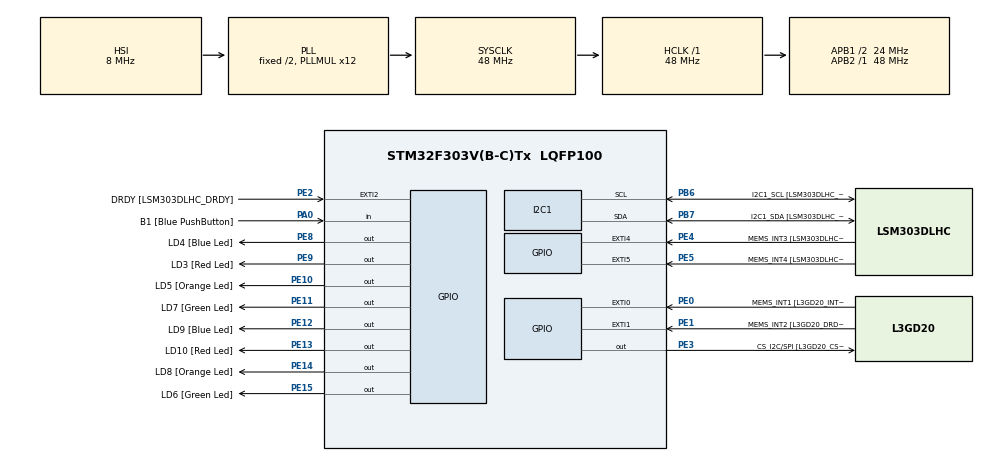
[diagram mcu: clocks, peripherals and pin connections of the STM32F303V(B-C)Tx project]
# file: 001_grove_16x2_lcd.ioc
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I2C1.Timing=0x00201D2B
Mcu.Family=STM32F3
Mcu.Name=STM32F303V(B-C)Tx
Mcu.Package=LQFP100
NVIC.PriorityGroup=NVIC_PRIORITYGROUP_0
PA0.GPIO_Label=B1 [Blue PushButton]
PA0.GPIO_Mode=GPIO_MODE_INPUT
PA0.GPIO_PuPd=GPIO_NOPULL
PA0.Signal=GPIO_Input
PA11.GPIO_Label=DM
PA11.Signal=USB_DM
PA12.GPIO_Label=DP
PA12.Signal=USB_DP
PA13.GPIO_Label=SWDIO
PA13.Signal=SYS_JTMS-SWDIO
PA14.GPIO_Label=SWCLK
PA14.Signal=SYS_JTCK-SWCLK
PA5.GPIO_Label=SPI1_SCK [L3GD20_SCL/SPC]
PA5.GPIO_Mode=GPIO_MODE_AF_PP
PA5.GPIO_PuPd=GPIO_NOPULL
PA5.GPIO_Speed=GPIO_SPEED_FREQ_LOW
PA5.Signal=SPI1_SCK
PA6.GPIO_Label=SPI1_MISO [L3GD20_SA0/SDO]
PA6.GPIO_Mode=GPIO_MODE_AF_PP
PA6.GPIO_PuPd=GPIO_NOPULL
PA6.GPIO_Speed=GPIO_SPEED_FREQ_LOW
PA6.Signal=SPI1_MISO
PA7.GPIO_Label=SPI1_MISO [L3GD20_SDA/SDI/SDO]
PA7.GPIO_Mode=GPIO_MODE_AF_PP
PA7.GPIO_PuPd=GPIO_NOPULL
PA7.GPIO_Speed=GPIO_SPEED_FREQ_LOW
PA7.Signal=SPI1_MOSI
PB3.GPIO_Label=SWO
PB3.Signal=SYS_JTDO-TRACESWO
PB6.GPIO_FM6=__NULL
PB6.GPIO_Label=I2C1_SCL [LSM303DLHC_SCL]
PB6.GPIO_Mode=GPIO_MODE_AF_OD
PB6.GPIO_PuPd=GPIO_NOPULL
PB6.GPIO_Speed=GPIO_SPEED_FREQ_LOW
PB6.Mode=I2C
PB6.Signal=I2C1_SCL
PB7.GPIO_FM7=__NULL
PB7.GPIO_Label=I2C1_SDA [LSM303DLHC_SDA]
PB7.GPIO_Mode=GPIO_MODE_AF_OD
PB7.GPIO_PuPd=GPIO_NOPULL
PB7.GPIO_Speed=GPIO_SPEED_FREQ_LOW
PB7.Mode=I2C
PB7.Signal=I2C1_SDA
PC14-OSC32_IN.GPIO_Label=OSC32_IN
PC14-OSC32_IN.Signal=RCC_OSC32_IN
PC15-OSC32_OUT.GPIO_Label=OSC32_OUT
PC15-OSC32_OUT.Signal=RCC_OSC32_OUT
PE0.GPIO_Label=MEMS_INT1 [L3GD20_INT1]
PE0.GPIO_ModeDefaultEXTI=GPIO_MODE_EVT_RISING
PE0.GPIO_PuPd=GPIO_NOPULL
PE0.Signal=GPXTI0
PE1.GPIO_Label=MEMS_INT2 [L3GD20_DRDY/INT2]
PE1.GPIO_ModeDefaultEXTI=GPIO_MODE_EVT_RISING
PE1.GPIO_PuPd=GPIO_NOPULL
PE1.Signal=GPXTI1
PE10.GPIO_Label=LD5 [Orange Led]
PE10.GPIO_ModeDefaultOutputPP=GPIO_MODE_OUTPUT_PP
PE10.GPIO_PuPd=GPIO_NOPULL
PE10.GPIO_Speed=GPIO_SPEED_FREQ_LOW
PE10.Signal=GPIO_Output
PE11.GPIO_Label=LD7 [Green Led]
PE11.GPIO_ModeDefaultOutputPP=GPIO_MODE_OUTPUT_PP
PE11.GPIO_PuPd=GPIO_NOPULL
PE11.GPIO_Speed=GPIO_SPEED_FREQ_LOW
PE11.Signal=GPIO_Output
PE12.GPIO_Label=LD9 [Blue Led]
PE12.GPIO_ModeDefaultOutputPP=GPIO_MODE_OUTPUT_PP
PE12.GPIO_PuPd=GPIO_NOPULL
PE12.GPIO_Speed=GPIO_SPEED_FREQ_LOW
PE12.Signal=GPIO_Output
PE13.GPIO_Label=LD10 [Red Led]
PE13.GPIO_ModeDefaultOutputPP=GPIO_MODE_OUTPUT_PP
PE13.GPIO_PuPd=GPIO_NOPULL
PE13.GPIO_Speed=GPIO_SPEED_FREQ_LOW
PE13.Signal=GPIO_Output
PE14.GPIO_Label=LD8 [Orange Led]
PE14.GPIO_ModeDefaultOutputPP=GPIO_MODE_OUTPUT_PP
PE14.GPIO_PuPd=GPIO_NOPULL
PE14.GPIO_Speed=GPIO_SPEED_FREQ_LOW
PE14.Signal=GPIO_Output
PE15.GPIO_Label=LD6 [Green Led]
PE15.GPIO_ModeDefaultOutputPP=GPIO_MODE_OUTPUT_PP
PE15.GPIO_PuPd=GPIO_NOPULL
PE15.GPIO_Speed=GPIO_SPEED_FREQ_LOW
PE15.Signal=GPIO_Output
PE2.GPIO_Label=DRDY [LSM303DLHC_DRDY]
PE2.GPIO_ModeDefaultEXTI=GPIO_MODE_EVT_RISING
PE2.GPIO_PuPd=GPIO_NOPULL
PE2.Signal=GPXTI2
PE3.GPIO_Label=CS_I2C/SPI [L3GD20_CS_I2C/SPI]
PE3.GPIO_ModeDefaultOutputPP=GPIO_MODE_OUTPUT_PP
PE3.GPIO_PuPd=GPIO_NOPULL
PE3.GPIO_Speed=GPIO_SPEED_FREQ_LOW
PE3.Signal=GPIO_Output
PE4.GPIO_Label=MEMS_INT3 [LSM303DLHC_INT1]
PE4.GPIO_ModeDefaultEXTI=GPIO_MODE_EVT_RISING
PE4.GPIO_PuPd=GPIO_NOPULL
PE4.Signal=GPXTI4
PE5.GPIO_Label=MEMS_INT4 [LSM303DLHC_INT2]
PE5.GPIO_ModeDefaultEXTI=GPIO_MODE_EVT_RISING
PE5.GPIO_PuPd=GPIO_NOPULL
PE5.Signal=GPXTI5
PE8.GPIO_Label=LD4 [Blue Led]
PE8.GPIO_ModeDefaultOutputPP=GPIO_MODE_OUTPUT_PP
PE8.GPIO_PuPd=GPIO_NOPULL
PE8.GPIO_Speed=GPIO_SPEED_FREQ_LOW
PE8.Signal=GPIO_Output
PE9.GPIO_Label=LD3 [Red Led]
PE9.GPIO_ModeDefaultOutputPP=GPIO_MODE_OUTPUT_PP
PE9.GPIO_PuPd=GPIO_NOPULL
PE9.GPIO_Speed=GPIO_SPEED_FREQ_LOW
PE9.Signal=GPIO_Output
PF0-OSC_IN.GPIO_Label=OSC_IN
PF0-OSC_IN.Mode=HSE-External-Oscillator
PF0-OSC_IN.Signal=RCC_OSC_IN
PF1-OSC_OUT.GPIO_Label=OSC_OUT
PF1-OSC_OUT.Mode=HSE-External-Oscillator
PF1-OSC_OUT.Signal=RCC_OSC_OUT
ProjectManager.HeapSize=0x200
ProjectManager.StackSize=0x400
ProjectManager.TargetToolchain=STM32CubeIDE
RCC.AHBFreq_Value=48000000
RCC.APB1CLKDivider=RCC_HCLK_DIV2
RCC.APB1Freq_Value=24000000
RCC.APB1TimFreq_Value=48000000
RCC.APB2Freq_Value=48000000
RCC.APB2TimFreq_Value=48000000
RCC.CortexFreq_Value=48000000
RCC.HCLKFreq_Value=48000000
RCC.HSE_VALUE=8000000
RCC.HSI_VALUE=8000000
RCC.LSE_VALUE=32768
RCC.PLLMUL=RCC_PLL_MUL12
RCC.SYSCLKFreq_VALUE=48000000
RCC.SYSCLKSourceVirtual=RCC_SYSCLKSOURCE_PLLCLK
RCC.USBFreq_Value=48000000
board=STM32F3DISCOVERY

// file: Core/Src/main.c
/* USER CODE BEGIN Header */
/**
  ******************************************************************************
  * @file           : main.c
  * @brief          : Main program body
  ******************************************************************************
  * @attention
  *
  * Copyright (c) 2025 STMicroelectronics.
  * All rights reserved.
  *
  * This software is licensed under terms that can be found in the LICENSE file
  * in the root directory of this software component.
  * If no LICENSE file comes with this software, it is provided AS-IS.
  *
  ******************************************************************************
  */
/* USER CODE END Header */
#include "main.h"

/* USER CODE BEGIN Includes */
#include <stdio.h>
#include <stdlib.h>
#include <string.h>
#include "rgb_lcd.h"
/* USER CODE END Includes */

I2C_HandleTypeDef hi2c1;

/* USER CODE BEGIN PV */
LCD_HandleTypeDef hlcd;
HAL_StatusTypeDef status;

/* USER CODE END PV */

void SystemClock_Config(void);
static void MX_GPIO_Init(void);
static void MX_I2C1_Init(void);
/* USER CODE BEGIN PFP */
HAL_StatusTypeDef write_to_24lcxx(I2C_HandleTypeDef *hi2c, uint16_t devAddress, uint16_t memAddress, uint8_t *pData, uint16_t len);
HAL_StatusTypeDef read_from_24lcxx(I2C_HandleTypeDef *hi2c, uint16_t devAddress, uint16_t memAddress, uint8_t *pData, uint16_t len);
/* USER CODE END PFP */

int main(void)
{

  /* USER CODE BEGIN 1 */
	const char wmsg[] = "We love STM32!";
	char rmsg[20];
  /* USER CODE END 1 */

  /* MCU Configuration--------------------------------------------------------*/

  /* Reset of all peripherals, Initializes the Flash interface and the Systick. */
  HAL_Init();

  /* USER CODE BEGIN Init */
printf("check\n");
  /* USER CODE END Init */

  /* Configure the system clock */
  SystemClock_Config();

  /* Initialize all configured peripherals */
  MX_GPIO_Init();
  MX_I2C1_Init();
  /* USER CODE BEGIN 2 */

  status = LCD_Init(&hlcd, &hi2c1);
  if(status != HAL_OK) {
      Error_Handler();
  }
  HAL_Delay(100);

  LCD_SetRGB(&hlcd, 255, 0, 0);

  // Clear the display
  status = LCD_Clear(&hlcd);
  if(status != HAL_OK) {
      Error_Handler();
  }
  HAL_Delay(10);

  status = LCD_SetCursor(&hlcd, 0, 0);
  if(status != HAL_OK) {
      Error_Handler();
  }
  HAL_Delay(10);

  // Print some text
  status = LCD_Print(&hlcd, "Hello World!");
  if(status != HAL_OK) {
      Error_Handler();
  }
  HAL_Delay(10);

  // Set cursor to second line
  status = LCD_SetCursor(&hlcd, 0, 1);
  if(status != HAL_OK) {
      Error_Handler();
  }
  HAL_Delay(10);

  status = LCD_Print(&hlcd, "STM32 LCD Test");
  if(status != HAL_OK) {
      Error_Handler();
  }
  HAL_Delay(10);

  // eeprom
  write_to_24lcxx(&hi2c1, 0xa0, 0x1aaa, (uint8_t*)wmsg, strlen(wmsg)+1);
  read_from_24lcxx(&hi2c1, 0xa0, 0x1aaa, (uint8_t*)rmsg, strlen(wmsg)+1);

  // Set cursor to second line
  status = LCD_SetCursor(&hlcd, 0, 1);
  if(status != HAL_OK) {
      Error_Handler();
  }
  HAL_Delay(10);

  status = LCD_Print(&hlcd, rmsg);
  if(status != HAL_OK) {
      Error_Handler();
  }
  HAL_Delay(10);

  /* USER CODE END 2 */

  /* Infinite loop */
  /* USER CODE BEGIN WHILE */
  while (1)
  {
	  HAL_GPIO_TogglePin(LD5_GPIO_Port, LD5_Pin);
	  HAL_Delay(200);
    /* USER CODE END WHILE */

    /* USER CODE BEGIN 3 */
	  printf("check\n");
  }
  /* USER CODE END 3 */
}

void SystemClock_Config(void)
{
  RCC_OscInitTypeDef RCC_OscInitStruct = {0};
  RCC_ClkInitTypeDef RCC_ClkInitStruct = {0};
  RCC_PeriphCLKInitTypeDef PeriphClkInit = {0};

  /** Initializes the RCC Oscillators according to the specified parameters
  * in the RCC_OscInitTypeDef structure.
  */
  RCC_OscInitStruct.OscillatorType = RCC_OSCILLATORTYPE_HSI;
  RCC_OscInitStruct.HSIState = RCC_HSI_ON;
  RCC_OscInitStruct.HSICalibrationValue = RCC_HSICALIBRATION_DEFAULT;
  RCC_OscInitStruct.PLL.PLLState = RCC_PLL_ON;
  RCC_OscInitStruct.PLL.PLLSource = RCC_PLLSOURCE_HSI;
  RCC_OscInitStruct.PLL.PLLMUL = RCC_PLL_MUL12;
  if (HAL_RCC_OscConfig(&RCC_OscInitStruct) != HAL_OK)
  {
    Error_Handler();
  }

  /** Initializes the CPU, AHB and APB buses clocks
  */
  RCC_ClkInitStruct.ClockType = RCC_CLOCKTYPE_HCLK|RCC_CLOCKTYPE_SYSCLK
                              |RCC_CLOCKTYPE_PCLK1|RCC_CLOCKTYPE_PCLK2;
  RCC_ClkInitStruct.SYSCLKSource = RCC_SYSCLKSOURCE_PLLCLK;
  RCC_ClkInitStruct.AHBCLKDivider = RCC_SYSCLK_DIV1;
  RCC_ClkInitStruct.APB1CLKDivider = RCC_HCLK_DIV2;
  RCC_ClkInitStruct.APB2CLKDivider = RCC_HCLK_DIV1;

  if (HAL_RCC_ClockConfig(&RCC_ClkInitStruct, FLASH_LATENCY_1) != HAL_OK)
  {
    Error_Handler();
  }
  PeriphClkInit.PeriphClockSelection = RCC_PERIPHCLK_I2C1;
  PeriphClkInit.I2c1ClockSelection = RCC_I2C1CLKSOURCE_HSI;
  if (HAL_RCCEx_PeriphCLKConfig(&PeriphClkInit) != HAL_OK)
  {
    Error_Handler();
  }
}

static void MX_I2C1_Init(void)
{

  hi2c1.Instance = I2C1;
  hi2c1.Init.Timing = 0x00201D2B;
  hi2c1.Init.OwnAddress1 = 0;
  hi2c1.Init.AddressingMode = I2C_ADDRESSINGMODE_7BIT;
  hi2c1.Init.DualAddressMode = I2C_DUALADDRESS_DISABLE;
  hi2c1.Init.OwnAddress2 = 0;
  hi2c1.Init.OwnAddress2Masks = I2C_OA2_NOMASK;
  hi2c1.Init.GeneralCallMode = I2C_GENERALCALL_DISABLE;
  hi2c1.Init.NoStretchMode = I2C_NOSTRETCH_DISABLE;
  if (HAL_I2C_Init(&hi2c1) != HAL_OK)
  {
    Error_Handler();
  }

  /** Configure Analogue filter
  */
  if (HAL_I2CEx_ConfigAnalogFilter(&hi2c1, I2C_ANALOGFILTER_ENABLE) != HAL_OK)
  {
    Error_Handler();
  }

  /** Configure Digital filter
  */
  if (HAL_I2CEx_ConfigDigitalFilter(&hi2c1, 0) != HAL_OK)
  {
    Error_Handler();
  }

}

static void MX_GPIO_Init(void)
{
  GPIO_InitTypeDef GPIO_InitStruct = {0};

  /* GPIO Ports Clock Enable */
  __HAL_RCC_GPIOE_CLK_ENABLE();
  __HAL_RCC_GPIOC_CLK_ENABLE();
  __HAL_RCC_GPIOF_CLK_ENABLE();
  __HAL_RCC_GPIOA_CLK_ENABLE();
  __HAL_RCC_GPIOB_CLK_ENABLE();

  /*Configure GPIO pin Output Level */
  HAL_GPIO_WritePin(GPIOE, CS_I2C_SPI_Pin|LD4_Pin|LD3_Pin|LD5_Pin
                          |LD7_Pin|LD9_Pin|LD10_Pin|LD8_Pin
                          |LD6_Pin, GPIO_PIN_RESET);

  /*Configure GPIO pins : DRDY_Pin MEMS_INT3_Pin MEMS_INT4_Pin MEMS_INT1_Pin
                           MEMS_INT2_Pin */
  GPIO_InitStruct.Pin = DRDY_Pin|MEMS_INT3_Pin|MEMS_INT4_Pin|MEMS_INT1_Pin
                          |MEMS_INT2_Pin;
  GPIO_InitStruct.Mode = GPIO_MODE_EVT_RISING;
  GPIO_InitStruct.Pull = GPIO_NOPULL;
  HAL_GPIO_Init(GPIOE, &GPIO_InitStruct);

  /*Configure GPIO pins : CS_I2C_SPI_Pin LD4_Pin LD3_Pin LD5_Pin
                           LD7_Pin LD9_Pin LD10_Pin LD8_Pin
                           LD6_Pin */
  GPIO_InitStruct.Pin = CS_I2C_SPI_Pin|LD4_Pin|LD3_Pin|LD5_Pin
                          |LD7_Pin|LD9_Pin|LD10_Pin|LD8_Pin
                          |LD6_Pin;
  GPIO_InitStruct.Mode = GPIO_MODE_OUTPUT_PP;
  GPIO_InitStruct.Pull = GPIO_NOPULL;
  GPIO_InitStruct.Speed = GPIO_SPEED_FREQ_LOW;
  HAL_GPIO_Init(GPIOE, &GPIO_InitStruct);

  /*Configure GPIO pin : B1_Pin */
  GPIO_InitStruct.Pin = B1_Pin;
  GPIO_InitStruct.Mode = GPIO_MODE_INPUT;
  GPIO_InitStruct.Pull = GPIO_NOPULL;
  HAL_GPIO_Init(B1_GPIO_Port, &GPIO_InitStruct);

  /*Configure GPIO pins : SPI1_SCK_Pin SPI1_MISO_Pin SPI1_MISOA7_Pin */
  GPIO_InitStruct.Pin = SPI1_SCK_Pin|SPI1_MISO_Pin|SPI1_MISOA7_Pin;
  GPIO_InitStruct.Mode = GPIO_MODE_AF_PP;
  GPIO_InitStruct.Pull = GPIO_NOPULL;
  GPIO_InitStruct.Speed = GPIO_SPEED_FREQ_LOW;
  GPIO_InitStruct.Alternate = GPIO_AF5_SPI1;
  HAL_GPIO_Init(GPIOA, &GPIO_InitStruct);

  /*Configure GPIO pins : DM_Pin DP_Pin */
  GPIO_InitStruct.Pin = DM_Pin|DP_Pin;
  GPIO_InitStruct.Mode = GPIO_MODE_AF_PP;
  GPIO_InitStruct.Pull = GPIO_NOPULL;
  GPIO_InitStruct.Speed = GPIO_SPEED_FREQ_HIGH;
  GPIO_InitStruct.Alternate = GPIO_AF14_USB;
  HAL_GPIO_Init(GPIOA, &GPIO_InitStruct);

}

/* USER CODE BEGIN 4 */
HAL_StatusTypeDef write_to_24lcxx(I2C_HandleTypeDef *hi2c, uint16_t devAddress, uint16_t memAddress, uint8_t *pData, uint16_t len)
{
	HAL_StatusTypeDef returnValue;
	uint8_t *data;

	/* First we allocate a temporary buffer to store the destination memory
	   * address and the data to store */
	data = (uint8_t*) malloc(sizeof(uint8_t)*(len+2));

	/* We compute the MSB and LSB parts of the memory address */
	data[0] = (uint8_t)((memAddress & 0xff00) >> 8);
	data[1] = (uint8_t)(memAddress & 0xff);

	/* And copy the content of the pData array in the temporary buffer */
	memcpy(data + 2, pData, len);

	/* We are now ready to transfer the buffer over the I2C bus */
	returnValue = HAL_I2C_Master_Transmit(hi2c, devAddress, data, len + 2, HAL_MAX_DELAY);
	if (returnValue != HAL_OK)
	{
		return returnValue;
	}

	free(data);

	/* We wait until the EEPROM effectively stores data in memory */
	while(HAL_I2C_Master_Transmit(hi2c, devAddress, 0, 0, HAL_MAX_DELAY) != HAL_OK);

	return HAL_OK;
}

HAL_StatusTypeDef read_from_24lcxx(I2C_HandleTypeDef *hi2c, uint16_t devAddress, uint16_t memAddress, uint8_t *pData, uint16_t len)
{
	HAL_StatusTypeDef returnValue;
	uint8_t addr[2];

	/* We compute the MSB and LSB parts of the memory address */
	addr[0] = (uint8_t) ((memAddress & 0xff00) >> 8);
	addr[1] = (uint8_t) (memAddress & 0xff);

	/* First we send the memory location address where start reading data */
	returnValue = HAL_I2C_Master_Transmit(hi2c, devAddress, addr, 2, HAL_MAX_DELAY);
	if (returnValue != HAL_OK)
	{
		return returnValue;
	}

	/* Next we can retrieve the data from EEPROM */
	returnValue = HAL_I2C_Master_Receive(hi2c, devAddress, pData, len, HAL_MAX_DELAY);

	return returnValue;
}
/* USER CODE END 4 */

void Error_Handler(void)
{
  /* USER CODE BEGIN Error_Handler_Debug */
  /* User can add his own implementation to report the HAL error return state */
  __disable_irq();
  while (1)
  {
	  HAL_GPIO_TogglePin(LD3_GPIO_Port, LD3_Pin); // Toggle red LED to indicate error
	  HAL_Delay(200);
  }
  /* USER CODE END Error_Handler_Debug */
}
